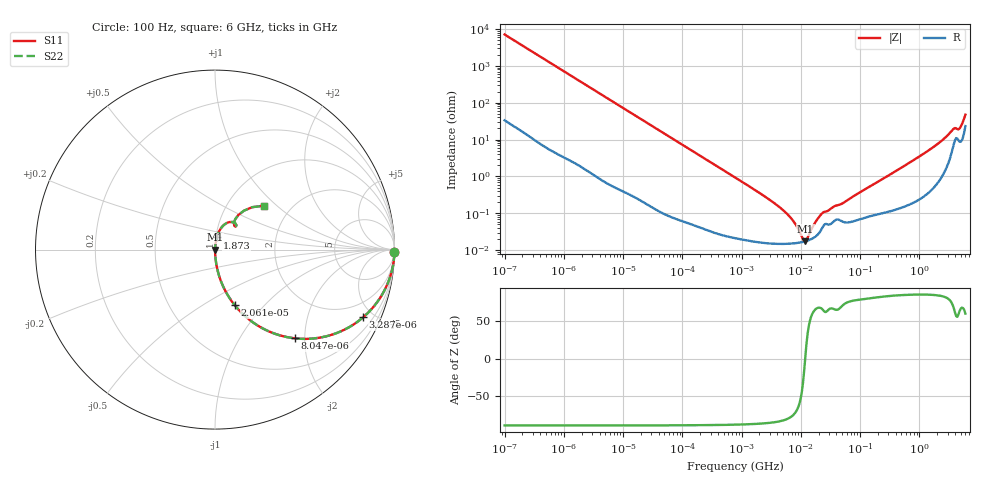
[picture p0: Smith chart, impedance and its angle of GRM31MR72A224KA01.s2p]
!Murata Part Number: GRM31MR72A224KA01
!These Parameters are Measured in Series Mode Connection
!Data Generated on Mar 30, 2021
!  o--ll--o
!Port1  Port2
!  o------o
!Operation Temp=25[degC], DC Bias Voltage=0[V]
!Freq. Start=100[Hz] Stop=6[GHz] 401[Steps]
# Hz S RI R 50
!Freq.(Hz) S11(Real) S11(Imag) S21(Real) S21(Imag) S12(Real) S12(Imag) S22(Real) S22(Imag)
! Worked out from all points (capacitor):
!   401 points, 100 Hz to 6 GHz, reference 50 ohm
!   read as one part in series: C = 224 nF near 109 Hz
!   lowest |Z| = 17.4 mohm at 11.89 MHz (marker M1)
!   series resonance near 11.84 MHz, so ESL is about 810 pH
!   S11 on the Smith chart (normalised r, x): 100 Hz: open; 3.287 kHz: 1.02, -4.36; 8.047 kHz: 1.01, -1.79; 20.61 kHz: 1.00, -0.70; 1.873 GHz: 1.01, +0.14; 6 GHz: 1.46, +0.82
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100  0.9997 -0.0141  0.000265 0.0141  0.000265 0.0141  0.9997 -0.0141
600  0.9926 -0.0834  0.00738 0.0834  0.00738 0.0834  0.9926 -0.0834
2008  0.9259 -0.2595  0.0741 0.2595  0.0741 0.2595  0.9259 -0.2595
3287  0.825 -0.3775  0.175 0.3775  0.175 0.3775  0.825 -0.3775
8047  0.4437 -0.4942  0.5563 0.4942  0.5563 0.4942  0.4437 -0.4942
20606  0.1105 -0.3105  0.8895 0.3105  0.8895 0.3105  0.1105 -0.3105
40335  0.0321 -0.1732  0.9679 0.1732  0.9679 0.1732  0.0321 -0.1732
129199  0.00367 -0.0559  0.9963 0.0559  0.9963 0.0559  0.00367 -0.0559
774597  0.0003 -0.00941  0.9997 0.00941  0.9997 0.00941  0.0003 -0.00941
5079039  0.000149 -0.00119  0.9999 0.00119  0.9999 0.00119  0.000149 -0.00119
7266822  0.000152 -0.000637  0.9998 0.000637  0.9998 0.000637  0.000152 -0.000637
1.087309e7  0.000168 -0.000108  0.9998 0.000108  0.9998 0.000108  0.000168 -0.000108
1.189169e7  0.000174 5.1e-06  0.9998 -5.1e-06  0.9998 -5.1e-06  0.000174 5.1e-06
1.555665e7  0.000206 0.000353  0.9998 -0.000353  0.9998 -0.000353  0.000206 0.000353
1.946e7  0.000269 0.000675  0.9997 -0.000675  0.9997 -0.000675  0.000269 0.000675
2.434276e7  0.000469 0.00097  0.9995 -0.00097  0.9995 -0.00097  0.000469 0.00097
5.211241e7  0.000589 0.00183  0.9994 -0.00183  0.9994 -0.00183  0.000589 0.00183
3.124326e8  0.00124 0.0109  0.9988 -0.0109  0.9988 -0.0109  0.00124 0.0109
1.873145e9  0.0102 0.0675  0.9898 -0.0675  0.9898 -0.0675  0.0102 0.0675
3.666503e9  0.0798 0.1532  0.9202 -0.1532  0.9202 -0.1532  0.0798 0.1532
4.796499e9  0.1054 0.1487  0.8946 -0.1487  0.8946 -0.1487  0.1054 0.1487
6e9  0.2703 0.2442  0.7297 -0.2442  0.7297 -0.2442  0.2703 0.2442
